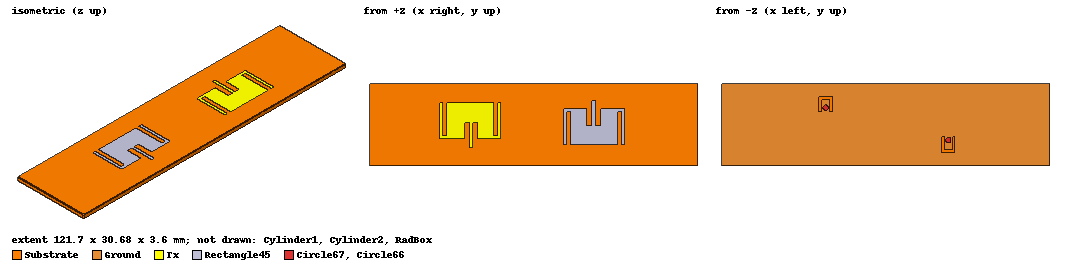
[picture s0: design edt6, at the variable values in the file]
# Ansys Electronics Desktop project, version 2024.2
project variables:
  $lp = 121.7140625mm
  $wp = 30.6765625mm
  $d = 25mm
  $PW2 = 14.92mm
  $PL1 = 11.04mm
  $p = 1.14mm
  $q = 9.33mm
  $j = 5mm
  $SL = 38mm
  $SW = 80mm
  $SH = 1.6mm
  $PL = 13.2mm
  $FL = 10.6mm
  $WN = 1.625mm
  $ID = 7.6mm
  $PW = 21.6mm
  $FW = 1.75mm
  $W = 80mm
  $L = 38mm
  $i1 = 7.6mm
  $n1 = 1.625mm
  $f1 = 10.443824mm
  $r = 7.22mm
  $t = -5.38mm
  $e = (($r/2)*1000) mm
  $c = 2mm
  $ss = 2mm
  $fn = 1.14mm
  $fe = (($fn/2)*1000) mm
  $a1 = 5mm
  $a2 = 6.16mm
  $a3 = ($a1/2)
  $l4 = 80.55mm
  $w4 = 36.85mm
  $hc = 21.5mm
  $qwe = 21.5mm
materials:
  FR4_epoxy: permittivity=4.4 dielectric_loss_tangent=0.02
  air: permittivity=1.0006 permeability=1.0000004
  pec: conductivity=1e+30
  vacuum: permittivity=1

design edt6 (HFSS, HFSS Terminal Network, model units mm)
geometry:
  Ground = rectangle(corner=(-$lp/2-9mm, -$wp/2-5mm, 0mm), x_size=$lp, y_size=$wp)
  Substrate [FR4_epoxy] = box(corner=(-$lp/2-9mm, -$wp/2 -5mm, 0mm), size=($lp, $wp, 1.6mm))
  Tx = rectangle(corner=(-14.92mm-$d, (-20.52/2) mm, 1.6mm), x_size=$PW2, y_size=$PL1)
  Rx = rectangle(corner=(6mm, (-20.52/2) mm, 1.6mm), x_size=$PW2, y_size=$PL1)
  FeedTx = rectangle(corner=(-5.52mm-0.875mm-1.75mm +0.305mm-$d, (-3.1-1) mm, 1.6mm), x_size=$p, y_size=-$q)
  feedRx = rectangle(corner=((6+0.305+0.875+5.52) mm, (5.88-2-1 -0.66+1.73) mm, 1.6mm), x_size=$p, y_size=-$q)
  Cylinder1Tx [pec] = cylinder(axis=Z, base_centre=(-13.3mm +6mm -$d, (-12.25-1.5 +3) mm, 0mm), radius=0.25mm, height=-2mm)
  Cylinder1 [vacuum] = cylinder(axis=Z, base_centre=(-13.3mm +6mm -$d, (-12.25-1.5+3) mm, 0mm), radius=0.75mm, height=-2mm)
  Cylinder2 [vacuum] = cylinder(axis=Z, base_centre=(13.3mm, (4.93-3 -0.66) mm, 0mm), radius=0.75mm, height=-2mm)
  Cylinder3Rx [pec] = cylinder(axis=Z, base_centre=(13.3mm, (4.93-3-0.66) mm, 0mm), radius=0.25mm, height=-2mm)
  Rectangle3 = rectangle(corner=(0 -$d, (-20.52/2) mm, 1.6mm), x_size=1.5mm, y_size=1.125mm)
  Rectangle4 = rectangle(corner=(6mm, (2.94-2.16) mm, 1.6mm), x_size=-3mm, y_size=-1.125mm)
  Cylinder3 [pec] = cylinder(axis=Z, base_centre=(-13.3mm +6mm -$d, (-12.25-1.5+3) mm, 1.6mm), radius=0.25mm, height=-1.6mm)
  Cylinder4 [pec] = cylinder(axis=Z, base_centre=(13.3mm, (4.93 -3-0.66) mm, 1.6mm), radius=0.25mm, height=-1.6mm)
  Cylinder5 [pec] = cylinder(axis=Z, base_centre=(13.3mm, (4.93-3-0.66) mm, 0mm), radius=1mm, height=-2mm)
  Cylinder6 [pec] = cylinder(axis=Z, base_centre=(-13.3mm +6mm -$d, (-12.25-1.5+3) mm, 0mm), radius=1mm, height=-2mm)
  Circle62 = circle(normal=Z, centre=(13.3mm, (4.93 -3 -0.66) mm, 0mm), radius=0.75mm)
  Ground.subtract(Circle62)
  Circle63 = circle(normal=Z, centre=(-13.3mm +6mm -$d, (-12.25 -1.5 +3) mm, 0mm), radius=0.75mm)
  Ground.subtract(Circle63)
  Circle66 = circle(normal=Z, centre=(13.3mm, (4.93-3-0.66) mm, -2mm), radius=1mm)
  Circle67 = circle(normal=Z, centre=(-13.3mm +6mm -$d, (-12.25-1.5+3) mm, -2mm), radius=1mm)
  Cylinder272 = cylinder(axis=Z, base_centre=(-13.3mm +6mm -$d, (-12.25-1.5 +3) mm, 1.6mm), radius=0.25mm, height=-1.6mm)
  Cylinder273 = cylinder(axis=Z, base_centre=(13.3mm, (4.93-3 -0.66) mm, 1.6mm), radius=0.25mm, height=-1.6mm)
  Substrate.subtract(Cylinder272, Cylinder273)
  Rectangle13 = rectangle(corner=(-4.77 mm-$d, -10.26mm, 1.6mm), x_size=-5mm, y_size=6.16mm)
  Tx.subtract(Rectangle13)
  Tx.unite(FeedTx)
  Rectangle14 = rectangle(corner=(10.77mm, 0.78mm, 1.6mm), x_size=5mm, y_size=-6.16mm)
  Rx.subtract(Rectangle14)
  Rx.unite(feedRx)
  cutinTx1 = rectangle(corner=(-5.77mm-$d+1mm, -14.43mm+5mm, 0mm), x_size=-1mm, y_size=-$j-1mm)
  Rectangle23 = rectangle(corner=(-8.77mm+3mm-$d, -13.93mm-0.5mm, 0mm), x_size=-3mm, y_size=-1mm)
  Rectangle24 = rectangle(corner=(-8.77mm-$d, -14.43mm-1mm, 0mm), x_size=-1mm, y_size=$j+1mm)
  cutinTx1.unite(Rectangle23, Rectangle24)
  Ground.subtract(cutinTx1)
  cutonRx1 = rectangle(corner=((12.7-1.5+0.57-1) mm, 4.45mm, 0mm), x_size=5mm, y_size=1mm)
  Rectangle25 = rectangle(corner=((11.77-1) mm, 4.95mm, 0mm), x_size=1mm, y_size=-$j)
  Rectangle26 = rectangle(corner=((14.77+1) mm, 4.95mm, 0mm), x_size=-1mm, y_size=-$j)
  cutonRx1.unite(Rectangle25, Rectangle26)
  Ground.subtract(cutonRx1)
  Rectangle27 = rectangle(corner=((20.92+1.2) mm, -10.26mm, 1.6mm), x_size=-17.33mm, y_size=(-3.389+1.125) mm)
  Rectangle28 = rectangle(corner=(22.12mm, -10.26mm, 1.6mm), x_size=-1.2mm, y_size=9.915mm)
  Rectangle29 = rectangle(corner=(4.79mm, -10.26mm, 1.6mm), x_size=1.21mm, y_size=9.915mm)
  Rectangle31 = rectangle(corner=(20.92mm, -0.345mm, 1.6mm), x_size=3mm, y_size=1.125mm)
  Rectangle34 = rectangle(corner=((-39.92-1.2) mm, 0.78mm, 1.6mm), x_size=17.33mm, y_size=2.22mm)
  Rectangle35 = rectangle(corner=(-41.12mm, 0.78mm, 1.6mm), x_size=1.2mm, y_size=-9.915mm)
  Rectangle36 = rectangle(corner=(-23.79mm, 0.78mm, 1.6mm), x_size=-1.21mm, y_size=-9.915mm)
  Rectangle37 = rectangle(corner=(-23.79mm, -9.135mm, 1.6mm), x_size=1.5mm, y_size=-1.125mm)
  Rectangle38 = rectangle(corner=(-22.29mm, -10.26mm, 1.6mm), x_size=1.125mm, y_size=13.3mm)
  Rectangle39 = rectangle(corner=(-39.92mm, -10.26mm, 1.6mm), x_size=-2.71mm, y_size=1.125mm)
  Rectangle40 = rectangle(corner=(-42.63mm, -10.26mm, 1.6mm), x_size=-1.125mm, y_size=13.3mm)
  RadBox [air] = box(corner=((-200/2) mm, -44mm, -2mm), size=(200mm, 90mm, 30mm))
  Rectangle42 = rectangle(corner=(4.79mm, -0.345mm, 1.6mm), x_size=-1.5mm, y_size=1.125mm)
  Rectangle43 = rectangle(corner=(3.29mm, 0.78mm, 1.6mm), x_size=-1.125mm, y_size=-13.3mm)
  Rectangle4.unite(Rectangle27, Rectangle28, Rectangle29, Rectangle42, Rectangle43, Rx)
  Rectangle44 = rectangle(corner=(22.12mm, -0.345mm, 1.6mm), x_size=1.5mm, y_size=1.125mm)
  Rectangle4.unite(Rectangle31)
  Rectangle45 = rectangle(corner=(23.62mm, 0.78mm, 1.6mm), x_size=1.125mm, y_size=-13.3mm)
  Rectangle45.unite(Rectangle44, Rectangle4)
  Tx.unite(Rectangle3, Rectangle34..Rectangle40)
  via1 [pec] = cylinder(axis=Z, base_centre=(2.1mm-$d+1.20mm, (-19.50/2) mm, 1.6mm), radius=0.5mm, height=-1.6mm)
  via2 [pec] = cylinder(axis=Z, base_centre=(2.1mm-$d+1.20mm, -8.25mm, 1.6mm), radius=0.5mm, height=-1.6mm)
  via3 [pec] = cylinder(axis=Z, base_centre=(2.1mm-$d+1.20mm, -8.25mm+1.5mm, 1.6mm), radius=0.5mm, height=-1.6mm)
  via4 [pec] = cylinder(axis=Z, base_centre=(2.1mm-$d+1.20mm, -8.25mm+1.5mm+1.5mm, 1.6mm), radius=0.5mm, height=-1.6mm)
  via5 [pec] = cylinder(axis=Z, base_centre=(2.1mm-$d+1.20mm, -8.25mm+1.5mm+1.5mm+1.5mm, 1.6mm), radius=0.5mm, height=-1.6mm)
  via6 [pec] = cylinder(axis=Z, base_centre=(2.1mm-$d+1.20mm, -8.25mm+1.5mm+1.5mm+1.5mm+1.5mm, 1.6mm), radius=0.5mm, height=-1.6mm)
  via7 [pec] = cylinder(axis=Z, base_centre=(2.1mm-$d+1.20mm, -8.25mm+1.5mm+1.5mm+1.5mm+1.5mm+1.5mm, 1.6mm), radius=0.5mm, height=-1.6mm)
  via8 [pec] = cylinder(axis=Z, base_centre=(2.1mm-$d+1.20mm, -8.25mm+1.5mm+1.5mm+1.5mm+1.5mm+1.5mm+1.5mm, 1.6mm), radius=0.5mm, height=-1.6mm)
  via9 [pec] = cylinder(axis=Z, base_centre=(2.1mm-$d+1.20mm, -8.25mm+1.5mm+1.5mm+1.5mm+1.5mm+1.5mm+1.5mm+1.5mm, 1.6mm), radius=0.5mm, height=-1.6mm)
  via10 [pec] = cylinder(axis=Z, base_centre=(2.1mm-$d+1.20mm-$hc, (-19.50/2) mm, 1.6mm), radius=0.5mm, height=-1.6mm)
  via11 [pec] = cylinder(axis=Z, base_centre=(2.1mm-$d+1.20mm-$hc, -8.25mm, 1.6mm), radius=0.5mm, height=-1.6mm)
  via12 [pec] = cylinder(axis=Z, base_centre=(2.1mm-$d+1.20mm-$hc, -8.25mm+1.5mm, 1.6mm), radius=0.5mm, height=-1.6mm)
  via13 [pec] = cylinder(axis=Z, base_centre=(2.1mm-$d+1.20mm-$hc, -8.25mm+1.5mm+1.5mm, 1.6mm), radius=0.5mm, height=-1.6mm)
  via14 [pec] = cylinder(axis=Z, base_centre=(2.1mm-$d+1.20mm-$hc, -8.25mm+1.5mm+1.5mm+1.5mm, 1.6mm), radius=0.5mm, height=-1.6mm)
  via15 [pec] = cylinder(axis=Z, base_centre=(2.1mm-$d+1.20mm-$hc, -8.25mm+1.5mm+1.5mm+1.5mm+1.5mm, 1.6mm), radius=0.5mm, height=-1.6mm)
  via16 [pec] = cylinder(axis=Z, base_centre=(2.1mm-$d+1.20mm -$hc, -8.25mm+1.5mm+1.5mm+1.5mm+1.5mm+1.5mm, 1.6mm), radius=0.5mm, height=-1.6mm)
  via17 [pec] = cylinder(axis=Z, base_centre=(2.1mm-$d+1.20mm -$hc, -8.25mm+1.5mm+1.5mm+1.5mm+1.5mm+1.5mm+1.5mm, 1.6mm), radius=0.5mm, height=-1.6mm)
  via18 [pec] = cylinder(axis=Z, base_centre=(2.1mm-$d+1.20mm -$hc, -8.25mm+1.5mm+1.5mm+1.5mm+1.5mm+1.5mm+1.5mm+1.5mm, 1.6mm), radius=0.5mm, height=-1.6mm)
  viaq1 [pec] = cylinder(axis=Z, base_centre=(24.2mm, 0.25mm, 1.6mm), radius=0.5mm, height=-1.6mm)
  viaq2 [pec] = cylinder(axis=Z, base_centre=(24.2mm, (0.25 -1.5) mm, 1.6mm), radius=0.5mm, height=-1.6mm)
  viaq3 [pec] = cylinder(axis=Z, base_centre=(24.2mm, (0.25-3) mm, 1.6mm), radius=0.5mm, height=-1.6mm)
  viaq4 [pec] = cylinder(axis=Z, base_centre=(24.2mm, (0.25 -4.5) mm, 1.6mm), radius=0.5mm, height=-1.6mm)
  viaq5 [pec] = cylinder(axis=Z, base_centre=(24.2mm, (0.25-6) mm, 1.6mm), radius=0.5mm, height=-1.6mm)
  viaq6 [pec] = cylinder(axis=Z, base_centre=(24.2mm, (0.25 -7.5) mm, 1.6mm), radius=0.5mm, height=-1.6mm)
  viaq7 [pec] = cylinder(axis=Z, base_centre=(24.2mm, (0.25-9) mm, 1.6mm), radius=0.5mm, height=-1.6mm)
  viaq8 [pec] = cylinder(axis=Z, base_centre=(24.2mm, (0.25-10.5) mm, 1.6mm), radius=0.5mm, height=-1.6mm)
  viaq9 [pec] = cylinder(axis=Z, base_centre=(24.2mm, (0.25-12) mm, 1.6mm), radius=0.5mm, height=-1.6mm)
  viaq10 [pec] = cylinder(axis=Z, base_centre=(24.2mm-$qwe, 0.25mm, 1.6mm), radius=0.5mm, height=-1.6mm)
  viaq11 [pec] = cylinder(axis=Z, base_centre=(24.2mm-$qwe, (0.25 -1.5) mm, 1.6mm), radius=0.5mm, height=-1.6mm)
  viaq12 [pec] = cylinder(axis=Z, base_centre=(24.2mm-$qwe, (0.25-3) mm, 1.6mm), radius=0.5mm, height=-1.6mm)
  viaq13 [pec] = cylinder(axis=Z, base_centre=(24.2mm-$qwe, (0.25 -4.5) mm, 1.6mm), radius=0.5mm, height=-1.6mm)
  viaq14 [pec] = cylinder(axis=Z, base_centre=(24.2mm-$qwe, (0.25-6) mm, 1.6mm), radius=0.5mm, height=-1.6mm)
  viaq15 [pec] = cylinder(axis=Z, base_centre=(24.2mm-$qwe, (0.25 -7.5) mm, 1.6mm), radius=0.5mm, height=-1.6mm)
  viaq16 [pec] = cylinder(axis=Z, base_centre=(24.2mm-$qwe, (0.25-9) mm, 1.6mm), radius=0.5mm, height=-1.6mm)
  viaq17 [pec] = cylinder(axis=Z, base_centre=(24.2 mm-$qwe, (0.25-10.5) mm, 1.6mm), radius=0.5mm, height=-1.6mm)
  viaq18 [pec] = cylinder(axis=Z, base_centre=(24.2mm-$qwe, (0.25-12) mm, 1.6mm), radius=0.5mm, height=-1.6mm)
  viad1 [pec] = cylinder(axis=Z, base_centre=(2.1mm-$d+1.20mm -2.7mm, -8.25mm+1.5mm+1.5mm+1.5mm+1.5mm+1.5mm+1.5mm+1.5mm, 1.6mm), radius=0.5mm, height=-1.6mm)
  viad2 [pec] = cylinder(axis=Z, base_centre=(2.1mm-$d+1.20mm -2.7mm-1.5mm, -8.25mm+1.5mm+1.5mm+1.5mm+1.5mm+1.5mm+1.5mm+1.5mm, 1.6mm), radius=0.5mm, height=-1.6mm)
  viad3 [pec] = cylinder(axis=Z, base_centre=(2.1mm-$d+1.20mm -2.7mm-1.5mm-1.5mm, -8.25mm+1.5mm+1.5mm+1.5mm+1.5mm+1.5mm+1.5mm+1.5mm, 1.6mm), radius=0.5mm, height=-1.6mm)
  viad4 [pec] = cylinder(axis=Z, base_centre=(2.1mm-$d+1.20mm -2.7mm-1.5mm-1.5mm-1.5mm-1.5mm, -8.25mm+1.5mm+1.5mm+1.5mm+1.5mm+1.5mm+1.5mm+1.5mm, 1.6mm), radius=0.5mm, height=-1.6mm)
  viad5 [pec] = cylinder(axis=Z, base_centre=(2.1mm-$d+1.20mm -2.7mm-1.5mm-1.5mm-1.5mm, -8.25mm+1.5mm+1.5mm+1.5mm+1.5mm+1.5mm+1.5mm+1.5mm, 1.6mm), radius=0.5mm, height=-1.6mm)
  viad6 [pec] = cylinder(axis=Z, base_centre=(2.1mm-$d+1.20mm -2.7mm, -8.25mm+1.5mm+1.5mm+1.5mm+1.5mm+1.5mm+1.5mm+1.5mm, 1.6mm), radius=0.5mm, height=-1.6mm)
  viad7 [pec] = cylinder(axis=Z, base_centre=(2.1mm-$d+1.20mm -2.7mm-1.5mm-1.5mm-1.5mm-1.5mm-1.5mm, -8.25mm+1.5mm+1.5mm+1.5mm+1.5mm+1.5mm+1.5mm+1.5mm, 1.6mm), radius=0.5mm, height=-1.6mm)
  viad8 [pec] = cylinder(axis=Z, base_centre=(2.1mm-$d+1.20mm -2.7mm-1.5mm-1.5mm-1.5mm-1.5mm-1.5mm-1.5mm, -8.25mm+1.5mm+1.5mm+1.5mm+1.5mm+1.5mm+1.5mm+1.5mm, 1.6mm), radius=0.5mm, height=-1.6mm)
  viad9 [pec] = cylinder(axis=Z, base_centre=(2.1mm-$d+1.20mm -2.7mm-1.5mm-1.5mm-1.5mm-1.5mm-1.5mm-1.5mm-1.5mm, -8.25mm+1.5mm+1.5mm+1.5mm+1.5mm+1.5mm+1.5mm+1.5mm, 1.6mm), radius=0.5mm, height=-1.6mm)
  viad10 [pec] = cylinder(axis=Z, base_centre=(2.1mm-$d+1.20mm -2.7mm-1.5mm-1.5mm-1.5mm-1.5mm-1.5mm-1.5mm-3mm, -8.25mm+1.5mm+1.5mm+1.5mm+1.5mm+1.5mm+1.5mm+1.5mm, 1.6mm), radius=0.5mm, height=-1.6mm)
  viad11 [pec] = cylinder(axis=Z, base_centre=(2.1mm-$d+1.20mm -2.7mm-1.5mm-1.5mm-1.5mm-1.5mm-1.5mm-1.5mm-1.5mm-4.5mm, -8.25mm+1.5mm+1.5mm+1.5mm+1.5mm+1.5mm+1.5mm+1.5mm, 1.6mm), radius=0.5mm, height=-1.6mm)
  viad12 [pec] = cylinder(axis=Z, base_centre=(2.1mm-$d+1.20mm -2.7mm-1.5mm-1.5mm-1.5mm-1.5mm-1.5mm-1.5mm-1.5mm-3mm, -8.25mm+1.5mm+1.5mm+1.5mm+1.5mm+1.5mm+1.5mm+1.5mm, 1.6mm), radius=0.5mm, height=-1.6mm)
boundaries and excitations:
  PerfE1: Perfect E Objects=[Ground, Tx]
  Rad1: Radiation Objects=RadBox
  1: Wave Port Objects=Circle66 WavePortType=Modal NumModes=1 Modes{Mode1{CharImp=Zpi}}
  2: Wave Port Objects=Circle67 WavePortType=Modal NumModes=1 Modes{Mode1{CharImp=Zpi}}
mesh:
  initial mesh: GlobalSurfApproximation{CurvedSurfaceApproxChoice=UseSlider SliderMeshSettings=1}
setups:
  Setup1: HfssDriven Frequency=5.9GHz MaxDeltaS=0.02 MaximumPasses=20 MinimumPasses=1 MinimumConvergedPasses=1 PercentRefinement=30 BasisOrder=1 PortAccuracy=2 DrivenSolverType="Direct Solver"
    sweep Sweep: 2.95GHz to 8.85GHz, 401 points; Type=Interpolating InterpTolerance=0.5 InterpMaxSolns=250 PassivityErrorTolerance=0.0001
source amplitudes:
  1:1, 2:1: 1W 0deg
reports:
  S Parameter Plot 1: dB(S(1,1)) vs Freq on Setup1 : Sweep; markers m2 at 5.9295GHz
  S Parameter Plot 2: dB(S(2,2)) vs Freq on Setup1 : Sweep; markers m1 at 5.97375GHz
  S Parameter Plot 3: dB(S(1,1)) vs Freq on Setup1 : Sweep
  S Parameter Plot 4: dB(S(2,1)) vs Freq on Setup1 : Sweep; markers m1 at 5.9295GHz
  S Parameter Plot 5: dB(S(2,2)) vs Freq on Setup1 : Sweep
  S Parameter Plot 6: dB(S(2,1)) vs Freq on Setup1 : Sweep; markers m1 at 5.91475GHz
  S Parameter Plot 7: dB(S(1,2)) vs Freq on Setup1 : Sweep; markers m1 at 5.9295GHz
  S Parameter Plot 8: dB(S(1,2)) vs Freq on Setup1 : Sweep; markers m1 at 5.8705GHz
  S Parameter Plot 9: dB(S(2,2)) vs Freq on Setup1 : Sweep
  S Parameter Plot 10: dB(S(1,1)) vs Freq on Setup1 : Sweep
  S Parameter Plot 11: dB(S(1,1)) vs Freq on Setup1 : Sweep [$p=all $q=all]
  S Parameter Plot 12: dB(S(1,1)) vs Freq on Setup1 : Sweep [$p=all $q=all]
  S Parameter Plot 13: dB(S(1,1)) vs Freq on Setup1 : Sweep [$p=all $q=all]; markers m1 at 5.9885GHz, m2 at 5.91475GHz, m3 at 5.605GHz, m4 at 5.91475GHz, m5 at 5.8705GHz, m6 at 8.85GHz, m7 at 5.8705GHz, m8 at 5.8705GHz, m9 at 5.8705GHz, m10 at 5.8705GHz, m11 at 5.6345GHz, m12 at 5.8705GHz
  S Parameter Plot 14: dB(S(2,1)) vs Freq on Setup1 : Sweep [$p=all $q=all]
  S Parameter Plot 15: dB(S(1,2)) vs Freq on Setup1 : Sweep [$p=all $q=all]
  S Parameter Plot 16: dB(S(1,1)) vs Freq on Setup1 : Sweep [$j=all]
  S Parameter Plot 17: dB(S(2,1)) vs Freq on Setup1 : Sweep [$j=all]
  S Parameter Plot 18: dB(S(2,1)) vs Freq on Setup1 : Sweep
